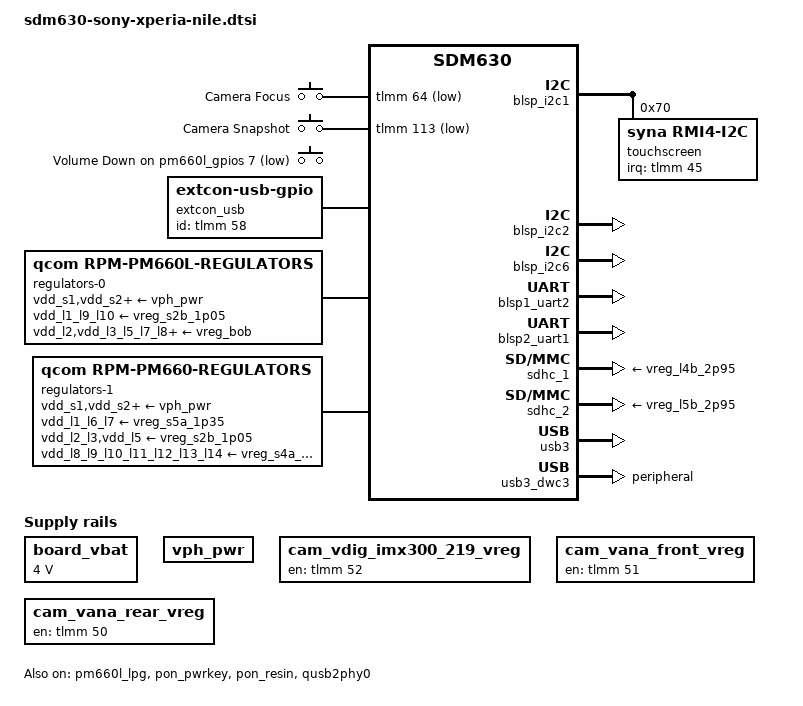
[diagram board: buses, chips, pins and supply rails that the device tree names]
// SPDX-License-Identifier: BSD-3-Clause
/*
 * Copyright (c) 2020, Konrad Dybcio <konrad.dybcio@somainline.org>
 * Copyright (c) 2020, AngeloGioacchino Del Regno
 *                     <angelogioacchino.delregno@somainline.org>
 */

#include "pm660.dtsi"
#include "pm660l.dtsi"
#include <dt-bindings/gpio/gpio.h>
#include <dt-bindings/input/input.h>
#include <dt-bindings/input/gpio-keys.h>
#include <dt-bindings/leds/common.h>

/ {
	/* required for bootloader to select correct board */
	qcom,msm-id = <318 0>;
	qcom,board-id = <8 1>;
	qcom,pmic-id = <0x1001b 0x101011a 0x00 0x00 0x1001b 0x201011a 0x00 0x00>;

	/* This part enables graphical output via bootloader-enabled display */
	chosen {
		bootargs = "earlycon=tty0 console=tty0";

		#address-cells = <2>;
		#size-cells = <2>;
		ranges;

		stdout-path = "framebuffer0";

		framebuffer0: framebuffer@9d400000 {
			compatible = "simple-framebuffer";
			reg = <0 0x9d400000 0 (1920 * 1080 * 4)>;
			width = <1080>;
			height = <1920>;
			stride = <(1080 * 4)>;
			format = "a8r8g8b8";
			status = "okay";
		};
	};

	board_vbat: vbat-regulator {
		compatible = "regulator-fixed";
		regulator-name = "VBAT";

		regulator-min-microvolt = <4000000>;
		regulator-max-microvolt = <4000000>;
		regulator-always-on;
		regulator-boot-on;
	};

	vph_pwr: vph-pwr-regulator {
		compatible = "regulator-fixed";
		regulator-name = "vph_pwr";

		regulator-always-on;
		regulator-boot-on;
	};

	cam_vdig_imx300_219_vreg: cam-vdig-imx300-219-regulator {
		compatible = "regulator-fixed";
		regulator-name = "cam_vdig_imx300_219_vreg";
		startup-delay-us = <0>;
		enable-active-high;
		gpio = <&tlmm 52 GPIO_ACTIVE_HIGH>;
		pinctrl-names = "default";
		pinctrl-0 = <&cam_vdig_default>;
	};

	cam_vana_front_vreg: cam-vana-front-regulator {
		compatible = "regulator-fixed";
		regulator-name = "cam_vana_front_vreg";
		startup-delay-us = <0>;
		enable-active-high;
		gpio = <&tlmm 51 GPIO_ACTIVE_HIGH>;
		pinctrl-names = "default";
		pinctrl-0 = <&imx219_vana_default>;
	};

	cam_vana_rear_vreg: cam-vana-rear-regulator {
		compatible = "regulator-fixed";
		regulator-name = "cam_vana_rear_vreg";
		startup-delay-us = <0>;
		enable-active-high;
		gpio = <&tlmm 50 GPIO_ACTIVE_HIGH>;
		regulator-always-on;
		pinctrl-names = "default";
		pinctrl-0 = <&imx300_vana_default>;
	};

	gpio-keys {
		compatible = "gpio-keys";

		key-camera-focus {
			label = "Camera Focus";
			gpios = <&tlmm 64 GPIO_ACTIVE_LOW>;
			linux,input-type = <1>;
			linux,code = <KEY_CAMERA_FOCUS>;
			debounce-interval = <15>;
		};

		key-camera-snapshot {
			label = "Camera Snapshot";
			gpios = <&tlmm 113 GPIO_ACTIVE_LOW>;
			linux,input-type = <1>;
			linux,code = <KEY_CAMERA>;
			debounce-interval = <15>;
		};

		key-vol-down {
			label = "Volume Down";
			gpios = <&pm660l_gpios 7 GPIO_ACTIVE_LOW>;
			linux,input-type = <1>;
			linux,code = <KEY_VOLUMEDOWN>;
			wakeup-source;
			debounce-interval = <15>;
		};
	};

	reserved-memory {
		#address-cells = <2>;
		#size-cells = <2>;
		ranges;

		ramoops@ffc00000 {
			compatible = "ramoops";
			reg = <0x0 0xffc00000 0x0 0x100000>;
			record-size = <0x10000>;
			console-size = <0x60000>;
			ftrace-size = <0x10000>;
			pmsg-size = <0x20000>;
			ecc-size = <16>;
			status = "okay";
		};

		debug@ffb00000 {
			reg = <0x00 0xffb00000 0x00 0x100000>;
			no-map;
		};

		cont_splash_mem: splash@9d400000 {
			reg = <0 0x9d400000 0 (1920 * 1080 * 4)>;
			no-map;
		};
	};

	/*
	 * Until we hook up type-c detection, we
	 * have to stick with this. But it works.
	 */
	extcon_usb: extcon-usb {
		compatible = "linux,extcon-usb-gpio";
		id-gpios = <&tlmm 58 GPIO_ACTIVE_HIGH>;
	};
};

&adsp_pil {
	firmware-name = "qcom/sdm630/Sony/nile/adsp.mdt";
};

&blsp_i2c1 {
	status = "okay";

	touchscreen: synaptics-rmi4-i2c@70 {
		compatible = "syna,rmi4-i2c";
		reg = <0x70>;
		#address-cells = <1>;
		#size-cells = <0>;
		interrupts-extended = <&tlmm 45 0x2008>;

		pinctrl-names = "default";
		pinctrl-0 = <&ts_int_active &ts_lcd_id_active>;

		syna,reset-delay-ms = <200>;
		syna,startup-delay-ms = <220>;

		rmi4-f01@1 {
			reg = <0x01>;
			syna,nosleep-mode = <1>;
		};

		rmi4-f11@11 {
			reg = <0x11>;
			syna,sensor-type = <1>;
		};
	};
};

&blsp_i2c2 {
	status = "okay";

	/* SMB1351 charger */
};

/* I2C3, 4, 5, 7 and 8 are disabled on this board. */

&blsp_i2c6 {
	status = "okay";

	/* NXP NFC */
};

&blsp1_uart2 {
	status = "okay";

	/* MSM serial console */
};

&blsp2_uart1 {
	status = "okay";

	/* HCI Bluetooth */
};

&pm660l_lpg {
	qcom,power-source = <1>;

	status = "okay";

	multi-led {
		color = <LED_COLOR_ID_RGB>;
		function = LED_FUNCTION_STATUS;

		#address-cells = <1>;
		#size-cells = <0>;

		led@1 {
			reg = <1>;
			color = <LED_COLOR_ID_BLUE>;
		};

		led@2 {
			reg = <2>;
			color = <LED_COLOR_ID_GREEN>;
		};

		led@3 {
			reg = <3>;
			color = <LED_COLOR_ID_RED>;
		};
	};
};

&pon_pwrkey {
	status = "okay";
};

&pon_resin {
	status = "okay";

	linux,code = <KEY_VOLUMEUP>;
};

&qhee_code {
	reg = <0x00 0x85800000 0x00 0x3700000>;
};

&qusb2phy0 {
	status = "okay";

	vdd-supply = <&vreg_l1b_0p925>;
	vdda-pll-supply = <&vreg_l10a_1p8>;
	vdda-phy-dpdm-supply = <&vreg_l7b_3p125>;
};

&rpm_requests {
	regulators-0 {
		compatible = "qcom,rpm-pm660l-regulators";

		vdd_s1-supply = <&vph_pwr>;
		vdd_s2-supply = <&vph_pwr>;
		vdd_s3_s4-supply = <&vph_pwr>;
		vdd_s5-supply = <&vph_pwr>;
		vdd_s6-supply = <&vph_pwr>;

		vdd_l1_l9_l10-supply = <&vreg_s2b_1p05>;
		vdd_l2-supply = <&vreg_bob>;
		vdd_l3_l5_l7_l8-supply = <&vreg_bob>;
		vdd_l4_l6-supply = <&vreg_bob>;
		vdd_bob-supply = <&vph_pwr>;

		vreg_s1b_1p125: s1 {
			regulator-min-microvolt = <1125000>;
			regulator-max-microvolt = <1125000>;
			regulator-enable-ramp-delay = <200>;
			regulator-ramp-delay = <0>;
		};

		vreg_s2b_1p05: s2 {
			regulator-min-microvolt = <1050000>;
			regulator-max-microvolt = <1050000>;
			regulator-enable-ramp-delay = <200>;
			regulator-ramp-delay = <0>;
		};

		/*
		 * At least on Nile's configuration, S3B/S4B (VDD_CX) and
		 * S5B (VDD_MX) are managed only through RPM Power Domains.
		 * Trying to set a voltage on the main supply will create
		 * havoc and freeze the SoC.
		 * In any case, reference voltages for these regulators are:
		 * S3B/S4B: 0.870V
		 * S5B: 0.915V
		 */

		/* LDOs */
		vreg_l1b_0p925: l1 {
			regulator-min-microvolt = <920000>;
			regulator-max-microvolt = <928000>;
			regulator-enable-ramp-delay = <250>;
			regulator-ramp-delay = <0>;
			regulator-allow-set-load;
		};

		vreg_l2b_2p95: l2 {
			/*
			 * This regulator supports 1.648 - 3.104V on this board
			 * but we set a max voltage of anything less than 2.7V
			 * to satisfy a condition in sdhci.c that will disable
			 * 3.3V SDHCI signaling, which happens to be not really
			 * supported on the Xperia Nile/Ganges platform.
			 */
			regulator-min-microvolt = <1648000>;
			regulator-max-microvolt = <2696000>;
			regulator-enable-ramp-delay = <250>;
			regulator-ramp-delay = <0>;
			regulator-allow-set-load;
		};

		vreg_l3b_3p0: l3 {
			regulator-min-microvolt = <2800000>;
			regulator-max-microvolt = <2800000>;
			regulator-enable-ramp-delay = <250>;
			regulator-ramp-delay = <0>;
			regulator-min-microamp = <200>;
			regulator-max-microamp = <600000>;
			regulator-system-load = <100000>;
			regulator-allow-set-load;
		};

		vreg_l4b_2p95: l4 {
			regulator-min-microvolt = <2944000>;
			regulator-max-microvolt = <2952000>;
			regulator-enable-ramp-delay = <250>;
			regulator-ramp-delay = <0>;

			regulator-min-microamp = <200>;
			regulator-max-microamp = <600000>;
			regulator-system-load = <570000>;
			regulator-allow-set-load;
		};

		/*
		 * Downstream specifies a range of 1721-3600mV,
		 * but the only assigned consumers are SDHCI2 VMMC
		 * and Coresight QPDI that both request pinned 2.95V.
		 * Tighten the range to 1.8-3.328 (closest to 3.3) to
		 * make the mmc driver happy.
		 */
		vreg_l5b_2p95: l5 {
			regulator-min-microvolt = <1800000>;
			regulator-max-microvolt = <3328000>;
			regulator-enable-ramp-delay = <250>;
			regulator-ramp-delay = <0>;
			regulator-allow-set-load;
			regulator-system-load = <800000>;
		};

		vreg_l6b_3p3: l6 {
			regulator-min-microvolt = <1704000>;
			regulator-max-microvolt = <3312000>;
			regulator-enable-ramp-delay = <250>;
			regulator-ramp-delay = <0>;
		};

		vreg_l7b_3p125: l7 {
			regulator-min-microvolt = <2704000>;
			regulator-max-microvolt = <3128000>;
			regulator-enable-ramp-delay = <250>;
			regulator-ramp-delay = <0>;
		};

		vreg_l8b_3p3: l8 {
			regulator-min-microvolt = <2800000>;
			regulator-max-microvolt = <3400000>;
			regulator-enable-ramp-delay = <250>;
			regulator-ramp-delay = <0>;
		};

		/* L9B (870mV) is currently unused */
		/* L10B (915mV) is currently unused */

		vreg_bob: bob {
			regulator-min-microvolt = <3304000>;
			regulator-max-microvolt = <3624000>;
			regulator-enable-ramp-delay = <500>;
			regulator-ramp-delay = <0>;
		};
	};

	regulators-1 {
		compatible = "qcom,rpm-pm660-regulators";

		vdd_s1-supply = <&vph_pwr>;
		vdd_s2-supply = <&vph_pwr>;
		vdd_s3-supply = <&vph_pwr>;
		vdd_s4-supply = <&vph_pwr>;
		vdd_s5-supply = <&vph_pwr>;
		vdd_s6-supply = <&vph_pwr>;

		vdd_l1_l6_l7-supply = <&vreg_s5a_1p35>;
		vdd_l2_l3-supply = <&vreg_s2b_1p05>;
		vdd_l5-supply = <&vreg_s2b_1p05>;
		vdd_l8_l9_l10_l11_l12_l13_l14-supply = <&vreg_s4a_2p04>;
		vdd_l15_l16_l17_l18_l19-supply = <&vreg_bob>;

		/*
		 * S1A (FTAPC0), S2A (FTAPC1), S3A (HFAPC1) are managed
		 * by the Core Power Reduction hardened (CPRh) and the
		 * Operating State Manager (OSM) HW automatically.
		 */

		vreg_s4a_2p04: s4 {
			regulator-min-microvolt = <2040000>;
			regulator-max-microvolt = <2040000>;
			regulator-enable-ramp-delay = <200>;
			regulator-ramp-delay = <0>;
			regulator-always-on;
		};

		vreg_s5a_1p35: s5 {
			regulator-min-microvolt = <1224000>;
			regulator-max-microvolt = <1350000>;
			regulator-enable-ramp-delay = <200>;
			regulator-ramp-delay = <0>;
		};

		vreg_s6a_0p87: s6 {
			regulator-min-microvolt = <504000>;
			regulator-max-microvolt = <992000>;
			regulator-enable-ramp-delay = <150>;
			regulator-ramp-delay = <0>;
		};

		/* LDOs */
		vreg_l1a_1p225: l1 {
			regulator-min-microvolt = <1226000>;
			regulator-max-microvolt = <1250000>;
			regulator-enable-ramp-delay = <250>;
			regulator-ramp-delay = <0>;
			regulator-allow-set-load;
		};

		vreg_l2a_1p0: l2 {
			regulator-min-microvolt = <944000>;
			regulator-max-microvolt = <1008000>;
			regulator-enable-ramp-delay = <250>;
			regulator-ramp-delay = <0>;
		};

		vreg_l3a_1p0: l3 {
			regulator-min-microvolt = <944000>;
			regulator-max-microvolt = <1008000>;
			regulator-enable-ramp-delay = <250>;
			regulator-ramp-delay = <0>;
		};

		vreg_l5a_0p848: l5 {
			regulator-min-microvolt = <800000>;
			regulator-max-microvolt = <952000>;
			regulator-enable-ramp-delay = <250>;
			regulator-ramp-delay = <0>;
		};

		vreg_l6a_1p3: l6 {
			regulator-min-microvolt = <1304000>;
			regulator-max-microvolt = <1368000>;
			regulator-allow-set-load;
			regulator-enable-ramp-delay = <250>;
			regulator-ramp-delay = <0>;
		};

		vreg_l7a_1p2: l7 {
			regulator-min-microvolt = <1200000>;
			regulator-max-microvolt = <1200000>;
			regulator-enable-ramp-delay = <250>;
			regulator-ramp-delay = <0>;
		};

		vreg_l8a_1p8: l8 {
			regulator-min-microvolt = <1800000>;
			regulator-max-microvolt = <1800000>;
			regulator-enable-ramp-delay = <250>;
			regulator-ramp-delay = <0>;
			regulator-system-load = <325000>;
			regulator-allow-set-load;
		};

		vreg_l9a_1p8: l9 {
			regulator-min-microvolt = <1804000>;
			regulator-max-microvolt = <1896000>;
			regulator-enable-ramp-delay = <250>;
			regulator-ramp-delay = <0>;
			regulator-allow-set-load;
		};

		vreg_l10a_1p8: l10 {
			regulator-min-microvolt = <1800000>;
			regulator-max-microvolt = <1944000>;
			regulator-enable-ramp-delay = <250>;
			regulator-ramp-delay = <0>;
			regulator-allow-set-load;
		};

		vreg_l11a_1p8: l11 {
			regulator-min-microvolt = <1784000>;
			regulator-max-microvolt = <1944000>;
			regulator-enable-ramp-delay = <250>;
			regulator-ramp-delay = <0>;
		};

		vreg_l12a_1p8: l12 {
			regulator-min-microvolt = <1800000>;
			regulator-max-microvolt = <1944000>;
			regulator-enable-ramp-delay = <250>;
			regulator-ramp-delay = <0>;
		};

		/* This gives power to the LPDDR4: never turn it off! */
		vreg_l13a_1p8: l13 {
			regulator-min-microvolt = <1800000>;
			regulator-max-microvolt = <1944000>;
			regulator-enable-ramp-delay = <250>;
			regulator-ramp-delay = <0>;
			regulator-boot-on;
			regulator-always-on;
		};

		vreg_l14a_1p8: l14 {
			regulator-min-microvolt = <1710000>;
			regulator-max-microvolt = <1904000>;
			regulator-enable-ramp-delay = <250>;
			regulator-ramp-delay = <0>;
		};

		vreg_l15a_1p8: l15 {
			regulator-min-microvolt = <1648000>;
			regulator-max-microvolt = <2952000>;
			regulator-enable-ramp-delay = <250>;
			regulator-ramp-delay = <0>;
		};

		/* L16A (2.70V) is unused */

		vreg_l17a_1p8: l17 {
			regulator-min-microvolt = <1648000>;
			regulator-max-microvolt = <2952000>;
			regulator-enable-ramp-delay = <250>;
			regulator-ramp-delay = <0>;
		};

		vreg_l18a_1v8: l18 {
			regulator-min-microvolt = <1800000>;
			regulator-max-microvolt = <1800000>;
			regulator-enable-ramp-delay = <250>;
			regulator-ramp-delay = <10>;
			regulator-min-microamp = <200>;
			regulator-max-microamp = <50000>;
			regulator-system-load = <10000>;
			regulator-allow-set-load;
		};

		vreg_l19a_3p3: l19 {
			regulator-min-microvolt = <3312000>;
			regulator-max-microvolt = <3400000>;
			regulator-enable-ramp-delay = <250>;
			regulator-ramp-delay = <0>;
			regulator-allow-set-load;
		};
	};
};

&sdc2_state_on {
	sd-cd-pins {
		pins = "gpio54";
		function = "gpio";
		bias-pull-up;
		drive-strength = <2>;
	};
};

&sdc2_state_off {
	sd-cd-pins {
		pins = "gpio54";
		function = "gpio";
		bias-disable;
		drive-strength = <2>;
	};
};

&sdhc_1 {
	status = "okay";
	supports-cqe;

	/* SoMC Nile platform's eMMC doesn't support HS200 mode */
	mmc-ddr-1_8v;
	mmc-hs400-1_8v;
	mmc-hs400-enhanced-strobe;

	vmmc-supply = <&vreg_l4b_2p95>;
	vqmmc-supply = <&vreg_l8a_1p8>;
};

&sdhc_2 {
	status = "okay";

	vmmc-supply = <&vreg_l5b_2p95>;
	vqmmc-supply = <&vreg_l2b_2p95>;
};

&tlmm {
	gpio-reserved-ranges = <8 4>;

	ts_int_active: ts-int-active-state {
		pins = "gpio45";
		function = "gpio";
		drive-strength = <8>;
		bias-pull-up;
	};

	ts_lcd_id_active: ts-lcd-id-active-state {
		pins = "gpio56";
		function = "gpio";
		drive-strength = <8>;
		bias-disable;
	};

	imx300_vana_default: imx300-vana-default-state {
		pins = "gpio50";
		function = "gpio";
		bias-disable;
		drive-strength = <2>;
	};

	imx219_vana_default: imx219-vana-default-state {
		pins = "gpio51";
		function = "gpio";
		bias-disable;
		drive-strength = <2>;
	};

	cam_vdig_default: cam-vdig-default-state {
		pins = "gpio52";
		function = "gpio";
		bias-disable;
		drive-strength = <2>;
	};
};

&usb3 {
	status = "okay";
};

&usb3_dwc3 {
	dr_mode = "peripheral";
	extcon = <&extcon_usb>;
};
